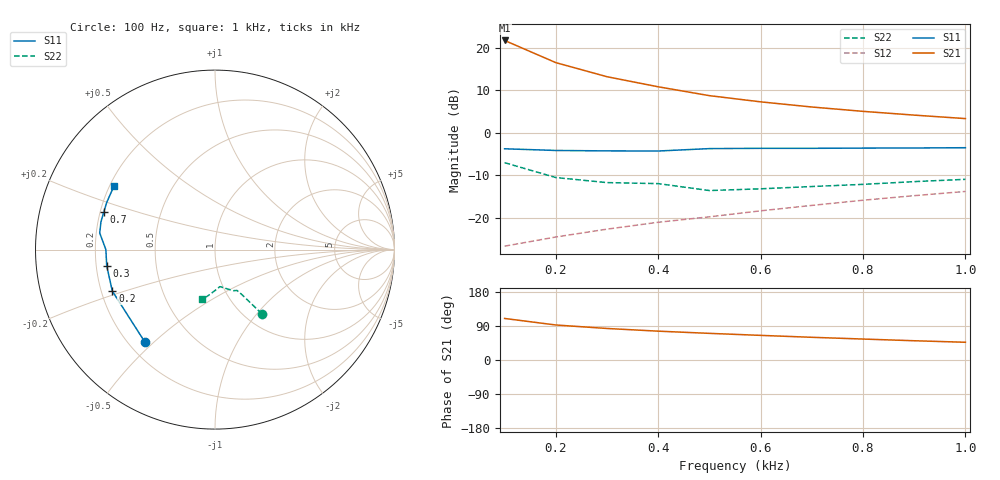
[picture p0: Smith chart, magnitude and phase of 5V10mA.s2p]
#  HZ  S  MA  R  50.0000
! Device:2SC5551A
! Bias:VCE=5V, IC=10mA
!MHZ	S11(MAG/ANG)		S21(MAG/ANG)		S12(MAG/ANG)		S22(MAG/ANG)
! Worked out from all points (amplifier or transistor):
!   10 points, 100 Hz to 1 kHz, reference 50 ohm
!   highest |S21| = 21.7 dB at 100 Hz (marker M1)
!   |S21| within 3 dB of that: start of sweep to 157.4 Hz
!   unconditionally stable (mu >= 1): 436.4 Hz to 794.9 Hz
!   at 200 Hz: K = 0.73, MSG = 20.5 dB, |S12| = -24.6 dB
!   at 600 Hz: K = 1.03, MAG = 11.8 dB, |S12| = -18.4 dB
!   at 1 kHz: K = 0.95, MSG = 8.6 dB, |S12| = -13.9 dB
!   S11 on the Smith chart (normalised r, x): 100 Hz: 0.26, -0.47; 200 Hz: 0.25, -0.18; 300 Hz: 0.24, -0.07; 700 Hz: 0.21, +0.16; 1 kHz: 0.22, +0.28
100  0.646 -127.3  12.2 109.6  0.046 44.1  0.443 -53.9
200  0.617 -158.0  6.686 92.4  0.059 48.0  0.296 -58.9
300  0.61 -171.5  4.563 83.2  0.073 54.6  0.258 -61.8
400  0.608 180.0  3.471 76.1  0.088 59.2  0.251 -65.9
500  0.649 171.8  2.73 70.3  0.102 62.8  0.208 -82.5
600  0.654 166.3  2.308 65.0  0.12 65.0  0.218 -86.4
700  0.654 161.2  2.006 59.9  0.139 66.4  0.232 -91.3
800  0.658 156.5  1.783 55.3  0.16 67.2  0.246 -95.3
900  0.66 151.7  1.61 50.8  0.181 67.1  0.265 -99.8
1000  0.665 147.6  1.465 46.8  0.203 67.2  0.282 -104.3
